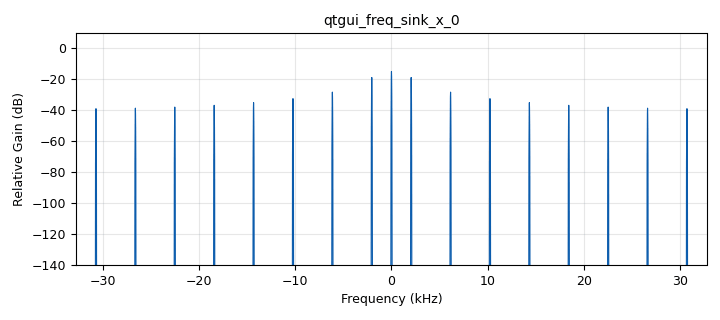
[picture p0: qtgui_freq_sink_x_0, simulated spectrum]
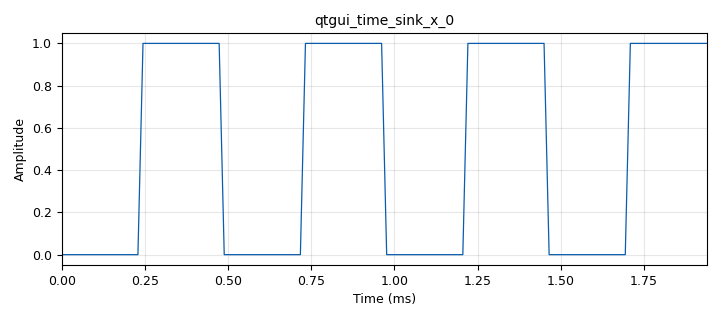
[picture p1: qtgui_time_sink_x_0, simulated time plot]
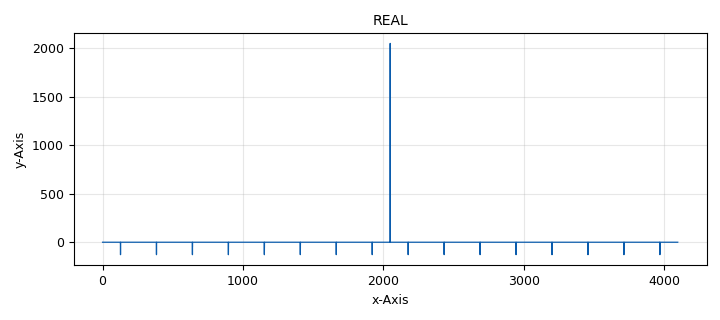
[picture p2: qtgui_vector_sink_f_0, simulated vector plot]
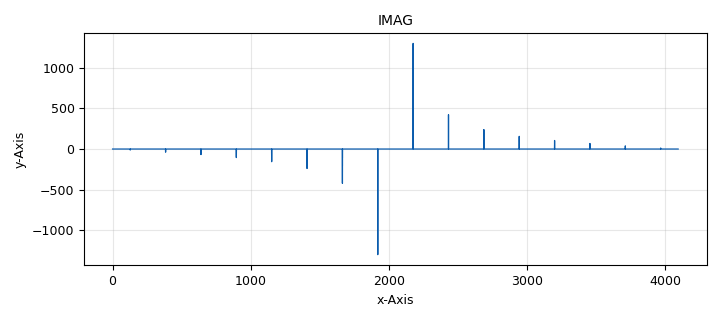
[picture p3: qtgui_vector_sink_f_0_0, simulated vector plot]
<?xml version='1.0' encoding='utf-8'?>
<?grc format='1' created='3.7.10'?>
<flow_graph>
<block>
<key>options</key>
<param><key>id</key><value>top_block</value></param>
<param><key>generate_options</key><value>qt_gui</value></param>
</block>
<block>
<key>variable</key>
<param><key>id</key><value>fft_length</value></param>
<param><key>value</key><value>4096</value></param>
</block>
<block>
<key>variable</key>
<param><key>id</key><value>samp_rate</value></param>
<param><key>value</key><value>65536</value></param>
</block>
<block>
<key>analog_sig_source_x</key>
<param><key>id</key><value>analog_sig_source_x_0</value></param>
<param><key>amp</key><value>1</value></param>
<param><key>freq</key><value>2048</value></param>
<param><key>offset</key><value>0</value></param>
<param><key>type</key><value>float</value></param>
<param><key>samp_rate</key><value>samp_rate</value></param>
<param><key>waveform</key><value>analog.GR_SQR_WAVE</value></param>
</block>
<block>
<key>blocks_complex_to_imag</key>
<param><key>id</key><value>blocks_complex_to_imag_0</value></param>
<param><key>vlen</key><value>fft_length</value></param>
</block>
<block>
<key>blocks_complex_to_real</key>
<param><key>id</key><value>blocks_complex_to_real_0</value></param>
<param><key>vlen</key><value>fft_length</value></param>
</block>
<block>
<key>blocks_stream_to_vector</key>
<param><key>id</key><value>blocks_stream_to_vector_0</value></param>
<param><key>type</key><value>float</value></param>
<param><key>num_items</key><value>fft_length</value></param>
</block>
<block>
<key>blocks_throttle</key>
<param><key>id</key><value>blocks_throttle_0</value></param>
<param><key>samples_per_second</key><value>samp_rate</value></param>
<param><key>type</key><value>float</value></param>
</block>
<block>
<key>fft_vxx</key>
<param><key>id</key><value>fft_vxx_0</value></param>
<param><key>fft_size</key><value>fft_length</value></param>
<param><key>forward</key><value>True</value></param>
<param><key>type</key><value>float</value></param>
<param><key>shift</key><value>True</value></param>
<param><key>window</key><value>window.rectangular(fft_length)</value></param>
</block>
<block>
<key>qtgui_freq_sink_x</key>
<param><key>id</key><value>qtgui_freq_sink_x_0</value></param>
<param><key>bw</key><value>samp_rate</value></param>
<param><key>fc</key><value>0</value></param>
<param><key>fftsize</key><value>fft_length</value></param>
<param><key>gui_hint</key><value>1,1,1,1</value></param>
<param><key>showports</key><value>True</value></param>
<param><key>type</key><value>float</value></param>
<param><key>wintype</key><value>firdes.WIN_BLACKMAN_hARRIS</value></param>
</block>
<block>
<key>qtgui_time_sink_x</key>
<param><key>id</key><value>qtgui_time_sink_x_0</value></param>
<param><key>autoscale</key><value>True</value></param>
<param><key>gui_hint</key><value>1,0,1,1</value></param>
<param><key>grid</key><value>True</value></param>
<param><key>color1</key><value>"blue"</value></param>
<param><key>label1</key><value></value></param>
<param><key>size</key><value>128</value></param>
<param><key>srate</key><value>samp_rate</value></param>
<param><key>type</key><value>float</value></param>
</block>
<block>
<key>qtgui_vector_sink_f</key>
<param><key>id</key><value>qtgui_vector_sink_f_0</value></param>
<param><key>autoscale</key><value>True</value></param>
<param><key>gui_hint</key><value>0,0,1,1</value></param>
<param><key>grid</key><value>True</value></param>
<param><key>name</key><value>"REAL"</value></param>
<param><key>showports</key><value>True</value></param>
<param><key>vlen</key><value>fft_length</value></param>
<param><key>x_start</key><value>0</value></param>
<param><key>x_step</key><value>1.0</value></param>
</block>
<block>
<key>qtgui_vector_sink_f</key>
<param><key>id</key><value>qtgui_vector_sink_f_0_0</value></param>
<param><key>autoscale</key><value>True</value></param>
<param><key>gui_hint</key><value>0,1,1,1</value></param>
<param><key>grid</key><value>True</value></param>
<param><key>name</key><value>"IMAG"</value></param>
<param><key>showports</key><value>True</value></param>
<param><key>vlen</key><value>fft_length</value></param>
<param><key>x_start</key><value>0</value></param>
<param><key>x_step</key><value>1.0</value></param>
</block>
<connection><source_block_id>analog_sig_source_x_0</source_block_id><sink_block_id>blocks_throttle_0</sink_block_id><source_key>0</source_key><sink_key>0</sink_key></connection>
<connection><source_block_id>blocks_complex_to_imag_0</source_block_id><sink_block_id>qtgui_vector_sink_f_0_0</sink_block_id><source_key>0</source_key><sink_key>0</sink_key></connection>
<connection><source_block_id>blocks_complex_to_real_0</source_block_id><sink_block_id>qtgui_vector_sink_f_0</sink_block_id><source_key>0</source_key><sink_key>0</sink_key></connection>
<connection><source_block_id>blocks_stream_to_vector_0</source_block_id><sink_block_id>fft_vxx_0</sink_block_id><source_key>0</source_key><sink_key>0</sink_key></connection>
<connection><source_block_id>blocks_throttle_0</source_block_id><sink_block_id>blocks_stream_to_vector_0</sink_block_id><source_key>0</source_key><sink_key>0</sink_key></connection>
<connection><source_block_id>blocks_throttle_0</source_block_id><sink_block_id>qtgui_freq_sink_x_0</sink_block_id><source_key>0</source_key><sink_key>0</sink_key></connection>
<connection><source_block_id>blocks_throttle_0</source_block_id><sink_block_id>qtgui_time_sink_x_0</sink_block_id><source_key>0</source_key><sink_key>0</sink_key></connection>
<connection><source_block_id>fft_vxx_0</source_block_id><sink_block_id>blocks_complex_to_imag_0</sink_block_id><source_key>0</source_key><sink_key>0</sink_key></connection>
<connection><source_block_id>fft_vxx_0</source_block_id><sink_block_id>blocks_complex_to_real_0</sink_block_id><source_key>0</source_key><sink_key>0</sink_key></connection>
</flow_graph>
